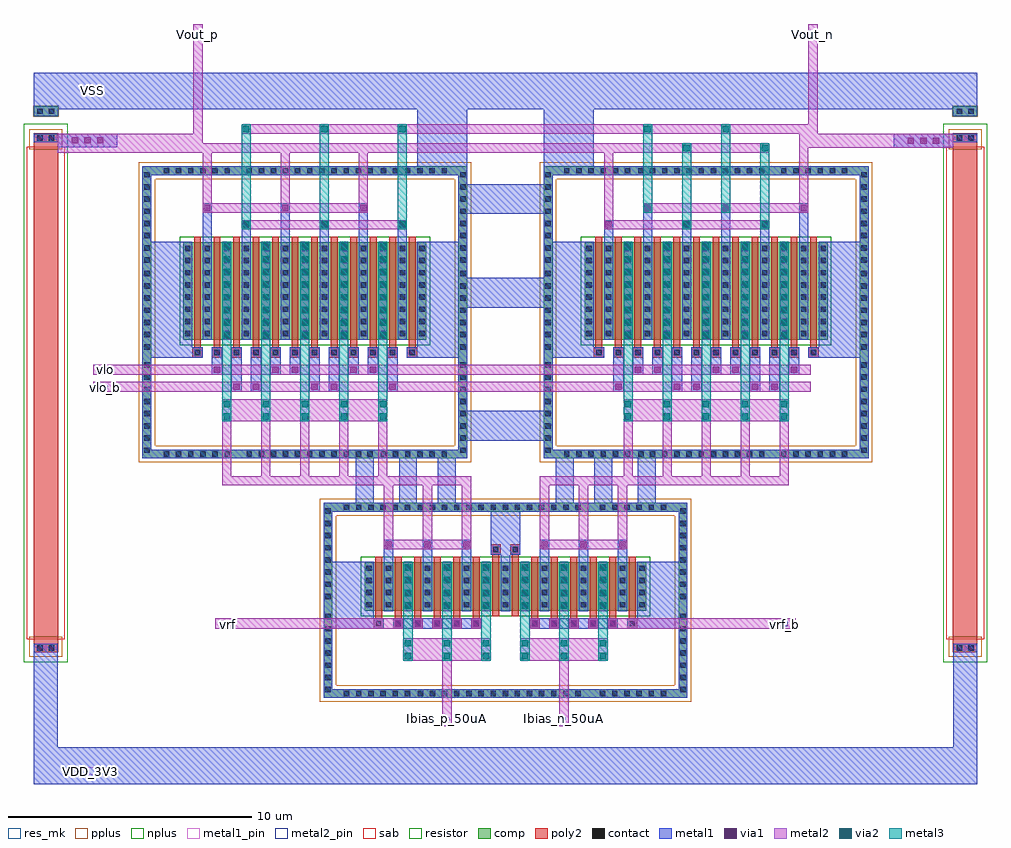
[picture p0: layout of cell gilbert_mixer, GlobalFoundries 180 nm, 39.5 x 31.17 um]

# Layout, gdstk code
from math import pi, radians
import gdstk
lib = gdstk.Library(unit=1e-6, precision=1e-09)
def R(c, l, rs):  # rectangles x0, y0, x1, y1
    for r in rs: c.add(gdstk.rectangle(r[:2], r[2:], *l))
def A(c, l, x, y, w, h, nx, ny, dx, dy):  # array of equal rectangles
    R(c, l, [(x+i*dx, y+j*dy, x+i*dx+w, y+j*dy+h) for i in range(nx) for j in range(ny)])
comp = (22, 0)
poly2 = (30, 0)
pplus = (31, 0)
nplus = (32, 0)
contact = (33, 0)
metal1 = (34, 0)
metal1_pin = (34, 10)
via1 = (35, 0)
metal2 = (36, 0)
metal2_pin = (36, 10)
via2 = (38, 0)
metal3 = (42, 0)
sab = (49, 0)
resistor = (62, 0)
res_mk = (110, 5)

nfet = lib.new_cell('nfet')
R(nfet, comp, [(0,0,11.56,2)])
A(nfet, poly2, 0.44, -0.22, 0.28, 2.44, 14, 1, 0.8, 0)
R(nfet, nplus, [(-0.16,-0.23,11.72,2.23)])
A(nfet, contact, 0.07, 0.14, 0.22, 0.22, 15, 4, 0.8, 0.5)
A(nfet, metal1, -0.01, -0.01, 0.38, 2.02, 15, 1, 0.8, 0)

nfet_1 = lib.new_cell('nfet$1')
R(nfet_1, comp, [(0,0,9.96,4)])
A(nfet_1, poly2, 0.44, -0.22, 0.28, 4.44, 12, 1, 0.8, 0)
R(nfet_1, nplus, [(-0.16,-0.23,10.12,4.23)])
A(nfet_1, contact, 0.07, 0.14, 0.22, 0.22, 13, 8, 0.8, 0.5)
A(nfet_1, metal1, -0.01, -0.01, 0.38, 4.02, 13, 1, 0.8, 0)

ppolyf_u_high_rs_resisto = lib.new_cell('ppolyf_u_high_Rs_resistor')
R(ppolyf_u_high_rs_resisto, comp, [(-1.76,0,-1.34,1)])
R(ppolyf_u_high_rs_resisto, poly2, [(-0.64,0,20.64,1)])
R(ppolyf_u_high_rs_resisto, pplus, [(-0.82,-0.18,0,1.18), (20,-0.18,20.82,1.18), (-1.78,-0.02,-1.32,1.02)])
R(ppolyf_u_high_rs_resisto, contact, [(-1.66,0.155,-1.44,0.375), (-0.57,0.155,-0.35,0.375), (20.35,0.155,20.57,0.375), (-1.66,0.625,-1.44,0.845), (-0.57,0.625,-0.35,0.845), (20.35,0.625,20.57,0.845)])
R(ppolyf_u_high_rs_resisto, metal1, [(-1.76,0,-1.34,1), (-0.63,0.01,-0.29,0.99), (20.29,0.01,20.63,0.99)])
R(ppolyf_u_high_rs_resisto, sab, [(-0.1,-0.28,20.1,1.28)])
R(ppolyf_u_high_rs_resisto, resistor, [(-1.04,-0.4,21.04,1.4)])
R(ppolyf_u_high_rs_resisto, res_mk, [(0,0,20,1)])

gilbert_mixer = lib.new_cell('gilbert_mixer')
R(gilbert_mixer, comp, [(25.84,-9.18,30.06,-8.82), (30.06,-9.18,33.54,-8.82), (33.54,-9.18,37.02,-8.82), (36.54,-9.18,40.76,-8.82), (25.84,-8.82,26.2,-4.86), (40.4,-8.82,40.76,-4.86), (25.84,-5.5,26.2,-1.54), (40.4,-5.5,40.76,-1.54), (25.84,-1.54,30.06,-1.18), (30.06,-1.54,33.54,-1.18), (33.54,-1.54,37.02,-1.18), (36.54,-1.54,40.76,-1.18), (18.41,0.64,22.63,1), (22.63,0.64,24.03,1), (24.03,0.64,27.51,1), (27.51,0.64,31.73,1), (34.87,0.64,39.09,1), (39.09,0.64,42.57,1), (42.57,0.64,43.97,1), (43.97,0.64,48.19,1), (18.41,1,18.77,4.96), (31.37,1,31.73,4.96), (34.87,1,35.23,4.96), (47.83,1,48.19,4.96), (18.41,4.96,18.77,4.98), (31.37,4.96,31.73,4.98), (34.87,4.96,35.23,4.98), (47.83,4.96,48.19,4.98), (18.41,4.98,18.77,8.46), (31.37,4.98,31.73,8.46), (34.87,4.98,35.23,8.46), (47.83,4.98,48.19,8.46), (18.41,8.3,18.77,12.26), (31.37,8.3,31.73,12.26), (34.87,8.3,35.23,12.26), (47.83,8.3,48.19,12.26), (18.41,12.26,22.63,12.62), (22.63,12.26,24.03,12.62), (24.03,12.26,27.51,12.62), (27.51,12.26,31.73,12.62), (34.87,12.26,39.09,12.62), (39.09,12.26,42.57,12.62), (42.57,12.26,43.97,12.62), (43.97,12.26,48.19,12.62)])
R(gilbert_mixer, poly2, [(27.89,-6.34,28.31,-5.92), (27.89,-6.34,28.31,-5.92), (28.69,-6.34,29.11,-5.92), (28.69,-6.34,29.11,-5.92), (29.49,-6.34,29.91,-5.92), (29.49,-6.34,29.91,-5.92), (30.29,-6.34,30.71,-5.92), (30.29,-6.34,30.71,-5.92), (31.09,-6.34,31.51,-5.92), (31.09,-6.34,31.51,-5.92), (31.89,-6.34,32.31,-5.92), (31.89,-6.34,32.31,-5.92), (34.29,-6.34,34.71,-5.92), (34.29,-6.34,34.71,-5.92), (35.09,-6.34,35.51,-5.92), (35.09,-6.34,35.51,-5.92), (35.89,-6.34,36.31,-5.92), (35.89,-6.34,36.31,-5.92), (36.69,-6.34,37.11,-5.92), (36.69,-6.34,37.11,-5.92), (37.49,-6.34,37.91,-5.92), (37.49,-6.34,37.91,-5.92), (38.29,-6.34,38.71,-5.92), (38.29,-6.34,38.71,-5.92), (27.96,-5.92,28.24,-5.83), (27.96,-5.92,28.24,-5.83), (28.76,-5.92,29.04,-5.83), (28.76,-5.92,29.04,-5.83), (29.56,-5.92,29.84,-5.83), (29.56,-5.92,29.84,-5.83), (30.36,-5.92,30.64,-5.83), (30.36,-5.92,30.64,-5.83), (31.16,-5.92,31.44,-5.83), (31.16,-5.92,31.44,-5.83), (31.96,-5.92,32.24,-5.83), (31.96,-5.92,32.24,-5.83), (34.36,-5.92,34.64,-5.83), (34.36,-5.92,34.64,-5.83), (35.16,-5.92,35.44,-5.83), (35.16,-5.92,35.44,-5.83), (35.96,-5.92,36.24,-5.83), (35.96,-5.92,36.24,-5.83), (36.76,-5.92,37.04,-5.83), (36.76,-5.92,37.04,-5.83), (37.56,-5.92,37.84,-5.83), (37.56,-5.92,37.84,-5.83), (38.36,-5.92,38.64,-5.83), (38.36,-5.92,38.64,-5.83), (32.76,-3.39,33.04,-3.3), (32.76,-3.39,33.04,-3.3), (33.56,-3.39,33.84,-3.3), (33.56,-3.39,33.84,-3.3), (32.69,-3.3,33.11,-2.88), (32.69,-3.3,33.11,-2.88), (33.49,-3.3,33.91,-2.88), (33.49,-3.3,33.91,-2.88), (20.46,4.78,20.88,5.2), (20.46,4.78,20.88,5.2), (21.26,4.78,21.68,5.2), (21.26,4.78,21.68,5.2), (22.06,4.78,22.48,5.2), (22.06,4.78,22.48,5.2), (22.86,4.78,23.28,5.2), (22.86,4.78,23.28,5.2), (23.66,4.78,24.08,5.2), (23.66,4.78,24.08,5.2), (24.46,4.78,24.88,5.2), (24.46,4.78,24.88,5.2), (25.26,4.78,25.68,5.2), (25.26,4.78,25.68,5.2), (26.06,4.78,26.48,5.2), (26.06,4.78,26.48,5.2), (26.86,4.78,27.28,5.2), (26.86,4.78,27.28,5.2), (27.66,4.78,28.08,5.2), (27.66,4.78,28.08,5.2), (28.46,4.78,28.88,5.2), (28.46,4.78,28.88,5.2), (29.26,4.78,29.68,5.2), (29.26,4.78,29.68,5.2), (36.92,4.78,37.34,5.2), (36.92,4.78,37.34,5.2), (37.72,4.78,38.14,5.2), (37.72,4.78,38.14,5.2), (38.52,4.78,38.94,5.2), (38.52,4.78,38.94,5.2), (39.32,4.78,39.74,5.2), (39.32,4.78,39.74,5.2), (40.12,4.78,40.54,5.2), (40.12,4.78,40.54,5.2), (40.92,4.78,41.34,5.2), (40.92,4.78,41.34,5.2), (41.72,4.78,42.14,5.2), (41.72,4.78,42.14,5.2), (42.52,4.78,42.94,5.2), (42.52,4.78,42.94,5.2), (43.32,4.78,43.74,5.2), (43.32,4.78,43.74,5.2), (44.12,4.78,44.54,5.2), (44.12,4.78,44.54,5.2), (44.92,4.78,45.34,5.2), (44.92,4.78,45.34,5.2), (45.72,4.78,46.14,5.2), (45.72,4.78,46.14,5.2), (20.53,5.2,20.81,5.29), (20.53,5.2,20.81,5.29), (21.33,5.2,21.61,5.29), (21.33,5.2,21.61,5.29), (22.13,5.2,22.41,5.29), (22.13,5.2,22.41,5.29), (22.93,5.2,23.21,5.29), (22.93,5.2,23.21,5.29), (23.73,5.2,24.01,5.29), (23.73,5.2,24.01,5.29), (24.53,5.2,24.81,5.29), (24.53,5.2,24.81,5.29), (25.33,5.2,25.61,5.29), (25.33,5.2,25.61,5.29), (26.13,5.2,26.41,5.29), (26.13,5.2,26.41,5.29), (26.93,5.2,27.21,5.29), (26.93,5.2,27.21,5.29), (27.73,5.2,28.01,5.29), (27.73,5.2,28.01,5.29), (28.53,5.2,28.81,5.29), (28.53,5.2,28.81,5.29), (29.33,5.2,29.61,5.29), (29.33,5.2,29.61,5.29), (36.99,5.2,37.27,5.29), (36.99,5.2,37.27,5.29), (37.79,5.2,38.07,5.29), (37.79,5.2,38.07,5.29), (38.59,5.2,38.87,5.29), (38.59,5.2,38.87,5.29), (39.39,5.2,39.67,5.29), (39.39,5.2,39.67,5.29), (40.19,5.2,40.47,5.29), (40.19,5.2,40.47,5.29), (40.99,5.2,41.27,5.29), (40.99,5.2,41.27,5.29), (41.79,5.2,42.07,5.29), (41.79,5.2,42.07,5.29), (42.59,5.2,42.87,5.29), (42.59,5.2,42.87,5.29), (43.39,5.2,43.67,5.29), (43.39,5.2,43.67,5.29), (44.19,5.2,44.47,5.29), (44.19,5.2,44.47,5.29), (44.99,5.2,45.27,5.29), (44.99,5.2,45.27,5.29), (45.79,5.2,46.07,5.29), (45.79,5.2,46.07,5.29)])
R(gilbert_mixer, pplus, [(25.68,-9.34,30.06,-8.66), (30.06,-9.34,33.54,-8.66), (33.54,-9.34,37.02,-8.66), (36.54,-9.34,40.92,-8.66), (25.68,-8.66,26.36,-5.02), (40.24,-8.66,40.92,-5.02), (25.68,-5.34,26.36,-1.7), (40.24,-5.34,40.92,-1.7), (25.68,-1.7,30.06,-1.02), (30.06,-1.7,33.54,-1.02), (33.54,-1.7,37.02,-1.02), (36.54,-1.7,40.92,-1.02), (18.25,0.48,22.63,1.16), (22.63,0.48,24.03,1.16), (24.03,0.48,27.51,1.16), (27.51,0.48,31.89,1.16), (34.71,0.48,39.09,1.16), (39.09,0.48,42.57,1.16), (42.57,0.48,43.97,1.16), (43.97,0.48,48.35,1.16), (18.25,1.16,18.93,4.8), (31.21,1.16,31.89,4.8), (34.71,1.16,35.39,4.8), (47.67,1.16,48.35,4.8), (18.25,4.8,18.93,4.98), (31.21,4.8,31.89,4.98), (34.71,4.8,35.39,4.98), (47.67,4.8,48.35,4.98), (18.25,4.98,18.93,8.46), (31.21,4.98,31.89,8.46), (34.71,4.98,35.39,8.46), (47.67,4.98,48.35,8.46), (18.25,8.46,18.93,12.1), (31.21,8.46,31.89,12.1), (34.71,8.46,35.39,12.1), (47.67,8.46,48.35,12.1), (18.25,12.1,22.63,12.78), (22.63,12.1,24.03,12.78), (24.03,12.1,27.51,12.78), (27.51,12.1,31.89,12.78), (34.71,12.1,39.09,12.78), (39.09,12.1,42.57,12.78), (42.57,12.1,43.97,12.78), (43.97,12.1,48.35,12.78)])
A(gilbert_mixer, contact, 26.67, -9.11, 0.22, 0.22, 6, 2, 0.5, 7.64)
A(gilbert_mixer, contact, 30.19, -9.11, 0.22, 0.22, 7, 2, 0.5, 7.64)
A(gilbert_mixer, contact, 33.67, -9.11, 0.22, 0.22, 6, 2, 0.5, 7.64)
A(gilbert_mixer, contact, 37.17, -9.11, 0.22, 0.22, 6, 2, 0.5, 7.64)
A(gilbert_mixer, contact, 25.91, -8.95, 0.22, 0.22, 1, 7, 0, 0.5)
A(gilbert_mixer, contact, 40.47, -8.95, 0.22, 0.22, 1, 7, 0, 0.5)
A(gilbert_mixer, contact, 25.91, -5.13, 0.22, 0.22, 1, 8, 0, 0.5)
A(gilbert_mixer, contact, 40.47, -5.13, 0.22, 0.22, 1, 8, 0, 0.5)
A(gilbert_mixer, contact, 19.28, 0.71, 0.22, 0.22, 6, 2, 0.5, 11.62)
A(gilbert_mixer, contact, 22.68, 0.71, 0.22, 0.22, 3, 2, 0.5, 11.62)
A(gilbert_mixer, contact, 24.16, 0.71, 0.22, 0.22, 7, 2, 0.5, 11.62)
A(gilbert_mixer, contact, 28.18, 0.71, 0.22, 0.22, 6, 2, 0.5, 11.62)
A(gilbert_mixer, contact, 35.7, 0.71, 0.22, 0.22, 6, 2, 0.5, 11.62)
A(gilbert_mixer, contact, 39.22, 0.71, 0.22, 0.22, 7, 2, 0.5, 11.62)
A(gilbert_mixer, contact, 42.7, 0.71, 0.22, 0.22, 3, 2, 0.5, 11.62)
A(gilbert_mixer, contact, 44.6, 0.71, 0.22, 0.22, 6, 2, 0.5, 11.62)
A(gilbert_mixer, contact, 18.48, 0.87, 0.22, 0.22, 1, 8, 0, 0.5)
A(gilbert_mixer, contact, 31.44, 0.87, 0.22, 0.22, 1, 8, 0, 0.5)
A(gilbert_mixer, contact, 34.94, 0.87, 0.22, 0.22, 1, 8, 0, 0.5)
A(gilbert_mixer, contact, 47.9, 0.87, 0.22, 0.22, 1, 8, 0, 0.5)
A(gilbert_mixer, contact, 18.48, 5.11, 0.22, 0.22, 1, 7, 0, 0.5)
A(gilbert_mixer, contact, 31.44, 5.11, 0.22, 0.22, 1, 7, 0, 0.5)
A(gilbert_mixer, contact, 34.94, 5.11, 0.22, 0.22, 1, 7, 0, 0.5)
A(gilbert_mixer, contact, 47.9, 5.11, 0.22, 0.22, 1, 7, 0, 0.5)
A(gilbert_mixer, contact, 18.48, 8.67, 0.22, 0.22, 1, 8, 0, 0.5)
A(gilbert_mixer, contact, 31.44, 8.67, 0.22, 0.22, 1, 8, 0, 0.5)
A(gilbert_mixer, contact, 34.94, 8.67, 0.22, 0.22, 1, 8, 0, 0.5)
A(gilbert_mixer, contact, 47.9, 8.67, 0.22, 0.22, 1, 8, 0, 0.5)
R(gilbert_mixer, contact, [(29.71,-9.11,29.93,-8.89), (27.99,-6.24,28.21,-6.02), (27.99,-6.24,28.21,-6.02), (28.79,-6.24,29.01,-6.02), (28.79,-6.24,29.01,-6.02), (29.59,-6.24,29.81,-6.02), (29.59,-6.24,29.81,-6.02), (30.39,-6.24,30.61,-6.02), (30.39,-6.24,30.61,-6.02), (31.19,-6.24,31.41,-6.02), (31.19,-6.24,31.41,-6.02), (31.99,-6.24,32.21,-6.02), (31.99,-6.24,32.21,-6.02), (34.39,-6.24,34.61,-6.02), (34.39,-6.24,34.61,-6.02), (35.19,-6.24,35.41,-6.02), (35.19,-6.24,35.41,-6.02), (35.99,-6.24,36.21,-6.02), (35.99,-6.24,36.21,-6.02), (36.79,-6.24,37.01,-6.02), (36.79,-6.24,37.01,-6.02), (37.59,-6.24,37.81,-6.02), (37.59,-6.24,37.81,-6.02), (38.39,-6.24,38.61,-6.02), (38.39,-6.24,38.61,-6.02), (32.79,-3.2,33.01,-2.98), (32.79,-3.2,33.01,-2.98), (33.59,-3.2,33.81,-2.98), (33.59,-3.2,33.81,-2.98), (29.71,-1.47,29.93,-1.25), (27.64,0.71,27.86,0.93), (38.74,0.71,38.96,0.93), (20.56,4.88,20.78,5.1), (20.56,4.88,20.78,5.1), (21.36,4.88,21.58,5.1), (21.36,4.88,21.58,5.1), (22.16,4.88,22.38,5.1), (22.16,4.88,22.38,5.1), (22.96,4.88,23.18,5.1), (22.96,4.88,23.18,5.1), (23.76,4.88,23.98,5.1), (23.76,4.88,23.98,5.1), (24.56,4.88,24.78,5.1), (24.56,4.88,24.78,5.1), (25.36,4.88,25.58,5.1), (25.36,4.88,25.58,5.1), (26.16,4.88,26.38,5.1), (26.16,4.88,26.38,5.1), (26.96,4.88,27.18,5.1), (26.96,4.88,27.18,5.1), (27.76,4.88,27.98,5.1), (27.76,4.88,27.98,5.1), (28.56,4.88,28.78,5.1), (28.56,4.88,28.78,5.1), (29.36,4.88,29.58,5.1), (29.36,4.88,29.58,5.1), (37.02,4.88,37.24,5.1), (37.02,4.88,37.24,5.1), (37.82,4.88,38.04,5.1), (37.82,4.88,38.04,5.1), (38.62,4.88,38.84,5.1), (38.62,4.88,38.84,5.1), (39.42,4.88,39.64,5.1), (39.42,4.88,39.64,5.1), (40.22,4.88,40.44,5.1), (40.22,4.88,40.44,5.1), (41.02,4.88,41.24,5.1), (41.02,4.88,41.24,5.1), (41.82,4.88,42.04,5.1), (41.82,4.88,42.04,5.1), (42.62,4.88,42.84,5.1), (42.62,4.88,42.84,5.1), (43.42,4.88,43.64,5.1), (43.42,4.88,43.64,5.1), (44.22,4.88,44.44,5.1), (44.22,4.88,44.44,5.1), (45.02,4.88,45.24,5.1), (45.02,4.88,45.24,5.1), (45.82,4.88,46.04,5.1), (45.82,4.88,46.04,5.1), (27.64,12.33,27.86,12.55), (38.74,12.33,38.96,12.55)])
A(gilbert_mixer, metal1, 28.31, -3.6, 0.38, 0.9, 3, 1, 1.6, 0)
A(gilbert_mixer, metal1, 34.71, -3.6, 0.38, 0.9, 3, 1, 1.6, 0)
A(gilbert_mixer, metal1, 20.88, 9.52, 0.38, 1.58, 3, 1, 3.2, 0)
A(gilbert_mixer, metal1, 22.48, 9.52, 0.38, 0.9, 3, 1, 3.2, 0)
A(gilbert_mixer, metal1, 37.34, 9.52, 0.38, 0.9, 3, 1, 3.2, 0)
A(gilbert_mixer, metal1, 38.94, 9.52, 0.38, 1.58, 3, 1, 3.2, 0)
R(gilbert_mixer, metal1, [(13.96,-12.71,14.94,-7.27), (14.94,-12.71,51.66,-11.21), (51.66,-12.71,52.64,-7.27), (25.84,-9.18,30.06,-8.82), (30.06,-9.18,33.54,-8.82), (33.54,-9.18,37.02,-8.82), (36.54,-9.18,40.76,-8.82), (25.84,-8.82,26.2,-4.86), (40.4,-8.82,40.76,-4.86), (26.2,-6.34,27.89,-5.62), (27.89,-6.34,28.31,-5.92), (27.89,-6.34,28.31,-5.92), (28.69,-6.34,29.11,-5.92), (28.69,-6.34,29.11,-5.92), (29.11,-6.34,31.89,-5.92), (29.49,-6.34,29.91,-5.92), (29.49,-6.34,29.91,-5.92), (30.29,-6.34,30.71,-5.92), (30.29,-6.34,30.71,-5.92), (31.09,-6.34,31.51,-5.92), (31.09,-6.34,31.51,-5.92), (31.89,-6.34,32.31,-5.92), (31.89,-6.34,32.31,-5.92), (34.29,-6.34,34.71,-5.92), (34.29,-6.34,34.71,-5.92), (34.71,-6.34,37.49,-5.92), (35.09,-6.34,35.51,-5.92), (35.09,-6.34,35.51,-5.92), (35.89,-6.34,36.31,-5.92), (35.89,-6.34,36.31,-5.92), (36.69,-6.34,37.11,-5.92), (36.69,-6.34,37.11,-5.92), (37.49,-6.34,37.91,-5.92), (37.49,-6.34,37.91,-5.92), (38.29,-6.34,38.71,-5.92), (38.29,-6.34,38.71,-5.92), (38.71,-6.34,40.4,-5.62), (26.2,-5.62,27.51,-3.6), (39.09,-5.62,40.4,-3.6), (25.84,-5.5,26.2,-1.54), (40.4,-5.5,40.76,-1.54), (33.11,-3.6,33.49,-2.88), (32.69,-3.3,33.11,-2.88), (32.69,-3.3,33.11,-2.88), (33.49,-3.3,33.91,-2.88), (33.49,-3.3,33.91,-2.88), (32.69,-2.88,33.91,-1.54), (25.84,-1.54,30.06,-1.18), (30.06,-1.54,33.54,-1.18), (33.54,-1.54,37.02,-1.18), (36.54,-1.54,40.76,-1.18), (27.16,-1.18,27.89,0.64), (28.94,-1.18,29.67,0.64), (30.53,-1.18,31.26,0.64), (35.36,-1.18,36.09,0.64), (36.95,-1.18,37.68,0.64), (38.73,-1.18,39.46,0.64), (18.41,0.64,22.63,1), (22.63,0.64,24.03,1), (24.03,0.64,27.51,1), (27.51,0.64,31.73,1), (34.87,0.64,39.09,1), (39.09,0.64,42.57,1), (42.57,0.64,43.97,1), (43.97,0.64,48.19,1), (18.41,1,18.77,4.96), (31.37,1,31.73,4.96), (34.87,1,35.23,4.96), (47.83,1,48.19,4.96), (31.73,1.37,34.87,2.59), (22.06,3.38,22.48,4.78), (22.86,3.38,23.28,4.78), (25.26,3.38,25.68,4.78), (26.06,3.38,26.48,4.78), (28.46,3.38,28.88,4.78), (37.72,3.38,38.14,4.78), (40.12,3.38,40.54,4.78), (40.92,3.38,41.34,4.78), (43.32,3.38,43.74,4.78), (44.12,3.38,44.54,4.78), (21.26,4.08,21.68,4.78), (23.66,4.08,24.08,4.78), (24.46,4.08,24.88,4.78), (26.86,4.08,27.28,4.78), (27.66,4.08,28.08,4.78), (38.52,4.08,38.94,4.78), (39.32,4.08,39.74,4.78), (41.72,4.08,42.14,4.78), (42.52,4.08,42.94,4.78), (44.92,4.08,45.34,4.78), (18.77,4.78,20.46,5.5), (20.46,4.78,20.88,5.2), (20.46,4.78,20.88,5.2), (21.26,4.78,21.68,5.2), (21.26,4.78,21.68,5.2), (22.06,4.78,22.48,5.2), (22.06,4.78,22.48,5.2), (22.86,4.78,23.28,5.2), (22.86,4.78,23.28,5.2), (23.66,4.78,24.08,5.2), (23.66,4.78,24.08,5.2), (24.46,4.78,24.88,5.2), (24.46,4.78,24.88,5.2), (25.26,4.78,25.68,5.2), (25.26,4.78,25.68,5.2), (26.06,4.78,26.48,5.2), (26.06,4.78,26.48,5.2), (26.86,4.78,27.28,5.2), (26.86,4.78,27.28,5.2), (27.66,4.78,28.08,5.2), (27.66,4.78,28.08,5.2), (28.46,4.78,28.88,5.2), (28.46,4.78,28.88,5.2), (29.26,4.78,29.68,5.2), (29.26,4.78,29.68,5.2), (29.68,4.78,31.37,5.5), (35.23,4.78,36.92,5.5), (36.92,4.78,37.34,5.2), (36.92,4.78,37.34,5.2), (37.72,4.78,38.14,5.2), (37.72,4.78,38.14,5.2), (38.52,4.78,38.94,5.2), (38.52,4.78,38.94,5.2), (39.32,4.78,39.74,5.2), (39.32,4.78,39.74,5.2), (40.12,4.78,40.54,5.2), (40.12,4.78,40.54,5.2), (40.92,4.78,41.34,5.2), (40.92,4.78,41.34,5.2), (41.72,4.78,42.14,5.2), (41.72,4.78,42.14,5.2), (42.52,4.78,42.94,5.2), (42.52,4.78,42.94,5.2), (43.32,4.78,43.74,5.2), (43.32,4.78,43.74,5.2), (44.12,4.78,44.54,5.2), (44.12,4.78,44.54,5.2), (44.92,4.78,45.34,5.2), (44.92,4.78,45.34,5.2), (45.72,4.78,46.14,5.2), (45.72,4.78,46.14,5.2), (46.14,4.78,47.83,5.5), (18.41,4.96,18.77,4.98), (31.37,4.96,31.73,4.98), (34.87,4.96,35.23,4.98), (47.83,4.96,48.19,4.98), (18.41,4.98,18.77,8.46), (31.37,4.98,31.73,8.46), (34.87,4.98,35.23,8.46), (47.83,4.98,48.19,8.46), (18.77,5.5,20.08,9.52), (30.06,5.5,31.37,9.52), (35.23,5.5,36.54,9.52), (46.52,5.5,47.83,9.52), (31.73,6.83,34.87,8.05), (18.41,8.3,18.77,12.26), (31.37,8.3,31.73,12.26), (34.87,8.3,35.23,12.26), (47.83,8.3,48.19,12.26), (31.73,10.67,34.87,11.89), (18.41,12.26,22.63,12.62), (22.63,12.26,24.03,12.62), (24.03,12.26,27.51,12.62), (27.51,12.26,31.73,12.62), (34.87,12.26,39.09,12.62), (39.09,12.26,42.57,12.62), (42.57,12.26,43.97,12.62), (43.97,12.26,48.19,12.62), (29.68,12.62,31.73,14.96), (34.87,12.62,36.92,14.96), (49.22,13.39,51.66,13.96), (14.94,13.41,17.38,13.96), (13.95,14.96,52.65,16.46)])
R(gilbert_mixer, metal1_pin, [(16.13,-12.34,16.51,-12.02), (16.24,15.65,16.53,15.87)])
A(gilbert_mixer, via1, 29.17, -5.52, 0.26, 0.26, 6, 4, 1.6, 0.52)
A(gilbert_mixer, via1, 28.37, -3.02, 0.26, 0.26, 3, 1, 1.6, 0)
A(gilbert_mixer, via1, 34.77, -3.02, 0.26, 0.26, 3, 1, 1.6, 0)
A(gilbert_mixer, via1, 21.74, 5.56, 0.26, 0.26, 5, 8, 1.6, 0.52)
A(gilbert_mixer, via1, 38.2, 5.56, 0.26, 0.26, 5, 8, 1.6, 0.52)
A(gilbert_mixer, via1, 22.54, 10.1, 0.26, 0.26, 3, 1, 3.2, 0)
A(gilbert_mixer, via1, 37.4, 10.1, 0.26, 0.26, 3, 1, 3.2, 0)
A(gilbert_mixer, via1, 20.94, 10.78, 0.26, 0.26, 3, 1, 3.2, 0)
A(gilbert_mixer, via1, 39, 10.78, 0.26, 0.26, 3, 1, 3.2, 0)
A(gilbert_mixer, via1, 49.79, 13.54, 0.26, 0.26, 3, 1, 0.52, 0)
A(gilbert_mixer, via1, 15.51, 13.56, 0.26, 0.26, 3, 1, 0.52, 0)
R(gilbert_mixer, via1, [(28.77,-6.26,29.03,-6), (28.77,-6.26,29.03,-6), (29.57,-6.26,29.83,-6), (29.57,-6.26,29.83,-6), (30.37,-6.26,30.63,-6), (30.37,-6.26,30.63,-6), (31.17,-6.26,31.43,-6), (31.17,-6.26,31.43,-6), (31.97,-6.26,32.23,-6), (31.97,-6.26,32.23,-6), (34.37,-6.26,34.63,-6), (34.37,-6.26,34.63,-6), (35.17,-6.26,35.43,-6), (35.17,-6.26,35.43,-6), (35.97,-6.26,36.23,-6), (35.97,-6.26,36.23,-6), (36.77,-6.26,37.03,-6), (36.77,-6.26,37.03,-6), (37.57,-6.26,37.83,-6), (37.57,-6.26,37.83,-6), (22.14,3.45,22.4,3.71), (22.14,3.45,22.4,3.71), (22.94,3.45,23.2,3.71), (22.94,3.45,23.2,3.71), (25.34,3.45,25.6,3.71), (25.34,3.45,25.6,3.71), (26.14,3.45,26.4,3.71), (26.14,3.45,26.4,3.71), (28.54,3.45,28.8,3.71), (28.54,3.45,28.8,3.71), (37.8,3.45,38.06,3.71), (37.8,3.45,38.06,3.71), (40.2,3.45,40.46,3.71), (40.2,3.45,40.46,3.71), (41,3.45,41.26,3.71), (41,3.45,41.26,3.71), (43.4,3.45,43.66,3.71), (43.4,3.45,43.66,3.71), (44.2,3.45,44.46,3.71), (44.2,3.45,44.46,3.71), (21.34,4.15,21.6,4.41), (21.34,4.15,21.6,4.41), (23.74,4.15,24,4.41), (23.74,4.15,24,4.41), (24.54,4.15,24.8,4.41), (24.54,4.15,24.8,4.41), (26.94,4.15,27.2,4.41), (26.94,4.15,27.2,4.41), (27.74,4.15,28,4.41), (27.74,4.15,28,4.41), (38.6,4.15,38.86,4.41), (38.6,4.15,38.86,4.41), (39.4,4.15,39.66,4.41), (39.4,4.15,39.66,4.41), (41.8,4.15,42.06,4.41), (41.8,4.15,42.06,4.41), (42.6,4.15,42.86,4.41), (42.6,4.15,42.86,4.41), (45,4.15,45.26,4.41), (45,4.15,45.26,4.41)])
A(gilbert_mixer, metal2, 29.11, -5.62, 0.38, 2.02, 6, 1, 1.6, 0)
A(gilbert_mixer, metal2, 28.31, -2.7, 0.38, 2.24, 3, 1, 1.6, 0)
A(gilbert_mixer, metal2, 34.71, -2.7, 0.38, 2.24, 3, 1, 1.6, 0)
A(gilbert_mixer, metal2, 21.68, -0.08, 0.38, 2.24, 5, 1, 1.6, 0)
A(gilbert_mixer, metal2, 38.14, -0.08, 0.38, 2.24, 5, 1, 1.6, 0)
A(gilbert_mixer, metal2, 21.68, 5.5, 0.38, 4.02, 5, 1, 1.6, 0)
A(gilbert_mixer, metal2, 38.14, 5.5, 0.38, 4.02, 5, 1, 1.6, 0)
A(gilbert_mixer, metal2, 20.88, 11.1, 0.38, 2.08, 3, 1, 3.2, 0)
R(gilbert_mixer, metal2, [(30.71,-10.34,31.09,-7.66), (35.51,-10.34,35.89,-7.66), (29.11,-7.66,32.69,-6.74), (33.91,-7.66,37.49,-6.74), (21.4,-6.34,28.69,-5.92), (28.69,-6.34,29.11,-5.92), (28.69,-6.34,29.11,-5.92), (29.49,-6.34,29.91,-5.92), (29.49,-6.34,29.91,-5.92), (30.29,-6.34,30.71,-5.92), (30.29,-6.34,30.71,-5.92), (31.09,-6.34,31.51,-5.92), (31.09,-6.34,31.51,-5.92), (31.89,-6.34,32.31,-5.92), (31.89,-6.34,32.31,-5.92), (34.29,-6.34,34.71,-5.92), (34.29,-6.34,34.71,-5.92), (35.09,-6.34,35.51,-5.92), (35.09,-6.34,35.51,-5.92), (35.89,-6.34,36.31,-5.92), (35.89,-6.34,36.31,-5.92), (36.69,-6.34,37.11,-5.92), (36.69,-6.34,37.11,-5.92), (37.49,-6.34,37.91,-5.92), (37.49,-6.34,37.91,-5.92), (37.91,-6.34,45.2,-5.92), (28.31,-3.08,31.89,-2.7), (34.71,-3.08,38.29,-2.7), (21.68,-0.46,31.89,-0.08), (34.71,-0.46,44.92,-0.08), (21.68,2.16,28.46,3.08), (38.14,2.16,44.92,3.08), (16.4,3.38,20.78,3.78), (20.78,3.38,29.4,3.78), (29.4,3.38,37.2,3.78), (37.2,3.38,45.82,3.78), (16.4,4.08,20.78,4.48), (20.78,4.08,29.4,4.48), (29.4,4.08,37.2,4.48), (37.2,4.08,45.82,4.48), (22.48,10.04,29.26,10.42), (37.34,10.04,44.12,10.42), (37.34,10.42,37.72,13.18), (20.88,10.72,27.66,11.1), (38.94,10.72,45.72,11.1), (45.34,11.1,45.72,13.96), (14.94,13.18,20.88,13.41), (20.88,13.18,44.12,13.56), (45.72,13.39,51.66,13.96), (14.94,13.41,20.88,13.96), (20.5,13.73,20.88,18.46), (22.48,13.96,45.72,14.34), (45.72,13.96,46.1,18.46)])
R(gilbert_mixer, metal2_pin, [(30.85,-10.09,30.99,-9.97), (35.63,-10.09,35.77,-9.97), (21.81,-6.24,22.02,-6.06), (44.67,-6.24,44.88,-6.06), (16.82,3.48,16.99,3.63), (16.82,4.2,16.99,4.35), (20.61,17.97,20.78,18.12), (45.83,17.97,46,18.12)])
A(gilbert_mixer, via2, 29.17, -7.59, 0.26, 0.26, 6, 2, 1.6, 0.52)
A(gilbert_mixer, via2, 29.17, -5.52, 0.26, 0.26, 6, 4, 1.6, 0.52)
A(gilbert_mixer, via2, 21.74, 2.23, 0.26, 0.26, 5, 2, 1.6, 0.52)
A(gilbert_mixer, via2, 38.2, 2.23, 0.26, 0.26, 5, 2, 1.6, 0.52)
A(gilbert_mixer, via2, 21.74, 5.56, 0.26, 0.26, 5, 8, 1.6, 0.52)
A(gilbert_mixer, via2, 38.2, 5.56, 0.26, 0.26, 5, 8, 1.6, 0.52)
A(gilbert_mixer, via2, 22.54, 10.1, 0.26, 0.26, 3, 2, 3.2, 3.92)
R(gilbert_mixer, via2, [(40.6,10.1,40.86,10.36), (43.8,10.1,44.06,10.36), (40.6,13.24,40.86,13.5), (43.8,13.24,44.06,13.5), (39,14.02,39.26,14.28), (42.2,14.02,42.46,14.28)])
A(gilbert_mixer, metal3, 29.11, -7.66, 0.38, 2.04, 6, 1, 1.6, 0)
A(gilbert_mixer, metal3, 29.11, -5.62, 0.38, 2.02, 6, 1, 1.6, 0)
A(gilbert_mixer, metal3, 21.68, 2.16, 0.38, 3.34, 5, 1, 1.6, 0)
A(gilbert_mixer, metal3, 38.14, 2.16, 0.38, 3.34, 5, 1, 1.6, 0)
A(gilbert_mixer, metal3, 21.68, 5.5, 0.38, 4.02, 5, 1, 1.6, 0)
A(gilbert_mixer, metal3, 38.14, 5.5, 0.38, 4.02, 5, 1, 1.6, 0)
A(gilbert_mixer, metal3, 22.48, 10.04, 0.38, 4.3, 3, 1, 3.2, 0)
R(gilbert_mixer, metal3, [(40.54,10.04,40.92,13.56), (43.74,10.04,44.12,13.56), (38.94,10.72,39.32,14.34), (42.14,10.72,42.52,14.34)])
gilbert_mixer.add(gdstk.Reference(nfet, (27.52,-5.61)))
gilbert_mixer.add(gdstk.Reference(nfet_1, (36.55,5.51)))
gilbert_mixer.add(gdstk.Reference(nfet_1, (30.05,5.51), rotation=pi, x_reflection=True))
gilbert_mixer.add(gdstk.Reference(ppolyf_u_high_rs_resisto, (13.95,13.33), rotation=3*pi/2))
gilbert_mixer.add(gdstk.Reference(ppolyf_u_high_rs_resisto, (51.65,13.33), rotation=3*pi/2))
gilbert_mixer.add(gdstk.Label('VDD_3V3', (16.27,-12.19), layer=34, texttype=10))
gilbert_mixer.add(gdstk.Label('VSS', (16.35,15.74), layer=34, texttype=10))
gilbert_mixer.add(gdstk.Label('vrf', (21.89,-6.16), layer=36, texttype=10))
gilbert_mixer.add(gdstk.Label('vrf_b', (44.75,-6.16), layer=36, texttype=10))
gilbert_mixer.add(gdstk.Label('Ibias_p_50uA', (30.9,-10.04), layer=36, texttype=10))
gilbert_mixer.add(gdstk.Label('Ibias_n_50uA', (35.68,-10.04), layer=36, texttype=10))
gilbert_mixer.add(gdstk.Label('vlo_b', (16.88,3.55), layer=36, texttype=10))
gilbert_mixer.add(gdstk.Label('vlo', (16.88,4.27), layer=36, texttype=10))
gilbert_mixer.add(gdstk.Label('Vout_p', (20.68,18.04), layer=36, texttype=10))
gilbert_mixer.add(gdstk.Label('Vout_n', (45.9,18.04), layer=36, texttype=10))

lib.write_gds('gilbert_mixer.gds')
